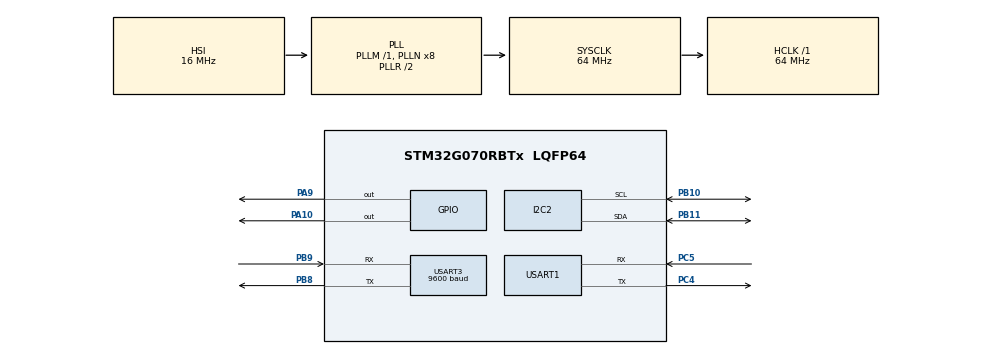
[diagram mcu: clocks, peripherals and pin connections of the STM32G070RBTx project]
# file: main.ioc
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Dma.Request0=USART3_RX
Dma.USART3_RX.0.Direction=DMA_PERIPH_TO_MEMORY
Dma.USART3_RX.0.EventEnable=DISABLE
Dma.USART3_RX.0.Instance=DMA1_Channel1
Dma.USART3_RX.0.MemDataAlignment=DMA_MDATAALIGN_BYTE
Dma.USART3_RX.0.MemInc=DMA_MINC_ENABLE
Dma.USART3_RX.0.Mode=DMA_NORMAL
Dma.USART3_RX.0.PeriphDataAlignment=DMA_PDATAALIGN_BYTE
Dma.USART3_RX.0.PeriphInc=DMA_PINC_DISABLE
Dma.USART3_RX.0.Polarity=HAL_DMAMUX_REQ_GEN_RISING
Dma.USART3_RX.0.Priority=DMA_PRIORITY_LOW
Dma.USART3_RX.0.RequestNumber=1
Dma.USART3_RX.0.SignalID=NONE
Dma.USART3_RX.0.SyncEnable=DISABLE
Dma.USART3_RX.0.SyncPolarity=HAL_DMAMUX_SYNC_NO_EVENT
Dma.USART3_RX.0.SyncRequestNumber=1
Dma.USART3_RX.0.SyncSignalID=NONE
I2C2.Timing=0x10707DBC
Mcu.Family=STM32G0
Mcu.Name=STM32G070RBTx
Mcu.Package=LQFP64
NVIC.DMA1_Channel1_IRQn=true\:0\:0\:false\:false\:true\:false\:true
NVIC.USART3_4_IRQn=true\:0\:0\:false\:false\:true\:true\:true
PA10.Signal=GPIO_Output
PA13.Mode=Serial_Wire
PA13.Signal=SYS_SWDIO
PA14-BOOT0.Mode=Serial_Wire
PA14-BOOT0.Signal=SYS_SWCLK
PA9.Signal=GPIO_Output
PB10.Mode=I2C
PB10.Signal=I2C2_SCL
PB11.Mode=I2C
PB11.Signal=I2C2_SDA
PB8.Mode=Asynchronous
PB8.Signal=USART3_TX
PB9.Mode=Asynchronous
PB9.Signal=USART3_RX
PC4.Mode=Asynchronous
PC4.Signal=USART1_TX
PC5.Mode=Asynchronous
PC5.Signal=USART1_RX
PF0-OSC_IN\ (PF0).Mode=HSE-External-Oscillator
PF0-OSC_IN\ (PF0).Signal=RCC_OSC_IN
PF1-OSC_OUT\ (PF1).Mode=HSE-External-Oscillator
PF1-OSC_OUT\ (PF1).Signal=RCC_OSC_OUT
ProjectManager.HeapSize=0x200
ProjectManager.StackSize=0x400
ProjectManager.TargetToolchain=MDK-ARM V5
RCC.ADCFreq_Value=64000000
RCC.AHBFreq_Value=64000000
RCC.CortexFreq_Value=64000000
RCC.EXTERNAL_CLOCK_VALUE=48000
RCC.HCLKFreq_Value=64000000
RCC.HSE_VALUE=8000000
RCC.HSI_VALUE=16000000
RCC.LSE_VALUE=32768
RCC.SYSCLKFreq_VALUE=64000000
RCC.SYSCLKSource=RCC_SYSCLKSOURCE_PLLCLK
RCC.VCOOutputFreq_Value=128000000
USART1.VirtualMode-Asynchronous=VM_ASYNC
USART3.BaudRate=9600
USART3.VirtualMode-Asynchronous=VM_ASYNC
VP_SYS_VS_DBSignals.Mode=DisableDeadBatterySignals
board=custom

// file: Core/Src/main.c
/* USER CODE BEGIN Header */
/**
  ******************************************************************************
  * @file           : main.c
  * @brief          : Main program body
  ******************************************************************************
  * @attention
  *
  * <h2><center>&copy; Copyright (c) 2020 STMicroelectronics.
  * All rights reserved.</center></h2>
  *
  * This software component is licensed by ST under BSD 3-Clause license,
  * the "License"; You may not use this file except in compliance with the
  * License. You may obtain a copy of the License at:
  *                        opensource.org/licenses/BSD-3-Clause
  *
  ******************************************************************************
  */
/* USER CODE END Header */
#include "main.h"
#include "dma.h"
#include "i2c.h"
#include "usart.h"
#include "gpio.h"

/* USER CODE BEGIN Includes */
#include "oled.h"
#include <stdio.h>
#include "dart_sensor.h"
#include "stm32g0xx_it.h"
/* USER CODE END Includes */

void SystemClock_Config(void);

int main(void)
{
    /* USER CODE BEGIN 1 */
		Dart_Sensor sensor ;
		char display_buf[20] = {0};
    /* USER CODE END 1 */

    /* MCU Configuration--------------------------------------------------------*/

    /* Reset of all peripherals, Initializes the Flash interface and the Systick. */
    HAL_Init();

    /* Configure the system clock */
    SystemClock_Config();

    /* Initialize all configured peripherals */
    MX_GPIO_Init();
    MX_DMA_Init();
    MX_USART1_UART_Init();
    MX_USART3_UART_Init();
    MX_I2C2_Init();
    /* USER CODE BEGIN 2 */
    OLED_Init();
    OLED_Clear();
    //开启DMA接收
    memset(sensor_handler.SensorU3Buffer, 0, SENSOR_U3_BUFFER_SIZE);
    HAL_UART_Receive_DMA(&huart3, (uint8_t*)sensor_handler.SensorU3Buffer, SENSOR_U3_BUFFER_SIZE);
    /* USER CODE END 2 */

    /* Infinite loop */
    while (1)
    {

        /* USER CODE BEGIN 3 */
        if(1 == sensor_handler.BufferReady)
        {
            sensor_handler.BufferReady = 0 ;

            /*判断包头数据是否正确*/
            if(sensor_handler.SensorU3Buffer[0] == 0xFF && sensor_handler.SensorU3Buffer[1] == 0x17)
            {
                sensor = Get_Dart_Sensor_Density(sensor_handler.SensorU3Buffer);
                sprintf(display_buf, "%.3fmg/L", sensor.gas_density);
								OLED_ShowString(0, 0, (uint8_t*)display_buf, 16);
                memset(sensor_handler.SensorU3Buffer, 0, SENSOR_U3_BUFFER_SIZE);
                HAL_UART_Receive_DMA(&huart3, (uint8_t*)sensor_handler.SensorU3Buffer, SENSOR_U3_BUFFER_SIZE);
            }
        }
    }

    /* USER CODE END 3 */
}

void SystemClock_Config(void)
{
    RCC_OscInitTypeDef RCC_OscInitStruct = {0};
    RCC_ClkInitTypeDef RCC_ClkInitStruct = {0};
    RCC_PeriphCLKInitTypeDef PeriphClkInit = {0};

    /** Configure the main internal regulator output voltage
    */
    HAL_PWREx_ControlVoltageScaling(PWR_REGULATOR_VOLTAGE_SCALE1);
    /** Initializes the RCC Oscillators according to the specified parameters
    * in the RCC_OscInitTypeDef structure.
    */
    RCC_OscInitStruct.OscillatorType = RCC_OSCILLATORTYPE_HSI;
    RCC_OscInitStruct.HSIState = RCC_HSI_ON;
    RCC_OscInitStruct.HSIDiv = RCC_HSI_DIV1;
    RCC_OscInitStruct.HSICalibrationValue = RCC_HSICALIBRATION_DEFAULT;
    RCC_OscInitStruct.PLL.PLLState = RCC_PLL_ON;
    RCC_OscInitStruct.PLL.PLLSource = RCC_PLLSOURCE_HSI;
    RCC_OscInitStruct.PLL.PLLM = RCC_PLLM_DIV1;
    RCC_OscInitStruct.PLL.PLLN = 8;
    RCC_OscInitStruct.PLL.PLLP = RCC_PLLP_DIV2;
    RCC_OscInitStruct.PLL.PLLR = RCC_PLLR_DIV2;

    if (HAL_RCC_OscConfig(&RCC_OscInitStruct) != HAL_OK)
    {
        Error_Handler();
    }

    /** Initializes the CPU, AHB and APB buses clocks
    */
    RCC_ClkInitStruct.ClockType = RCC_CLOCKTYPE_HCLK | RCC_CLOCKTYPE_SYSCLK
                                  | RCC_CLOCKTYPE_PCLK1;
    RCC_ClkInitStruct.SYSCLKSource = RCC_SYSCLKSOURCE_PLLCLK;
    RCC_ClkInitStruct.AHBCLKDivider = RCC_SYSCLK_DIV1;
    RCC_ClkInitStruct.APB1CLKDivider = RCC_HCLK_DIV1;

    if (HAL_RCC_ClockConfig(&RCC_ClkInitStruct, FLASH_LATENCY_2) != HAL_OK)
    {
        Error_Handler();
    }

    /** Initializes the peripherals clocks
    */
    PeriphClkInit.PeriphClockSelection = RCC_PERIPHCLK_USART1;
    PeriphClkInit.Usart1ClockSelection = RCC_USART1CLKSOURCE_PCLK1;

    if (HAL_RCCEx_PeriphCLKConfig(&PeriphClkInit) != HAL_OK)
    {
        Error_Handler();
    }
}

void Error_Handler(void)
{
}

/************************ (C) COPYRIGHT STMicroelectronics *****END OF FILE****/
